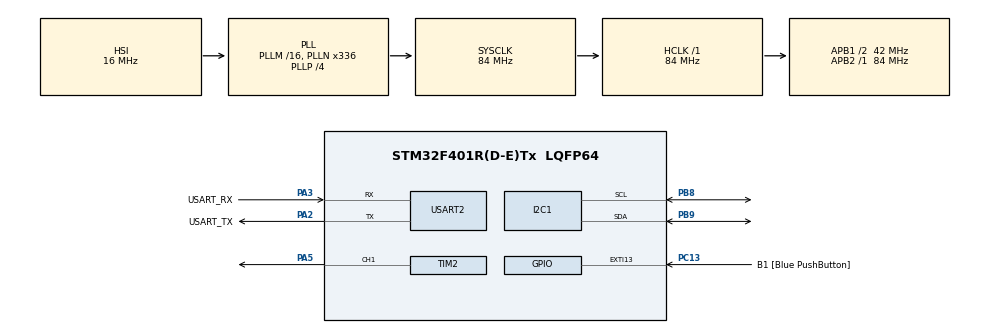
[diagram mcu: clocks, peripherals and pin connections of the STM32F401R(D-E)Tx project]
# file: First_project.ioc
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ADC1.Channel-0\#ChannelRegularConversion=ADC_CHANNEL_TEMPSENSOR
ADC1.ContinuousConvMode=DISABLE
ADC1.InjNumberOfConversion=0
ADC1.NbrOfConversion=1
ADC1.NbrOfConversionFlag=1
ADC1.Rank-0\#ChannelRegularConversion=1
ADC1.SamplingTime-0\#ChannelRegularConversion=ADC_SAMPLETIME_480CYCLES
ADC1.ScanConvMode=DISABLE
ADC1.master=1
Mcu.Family=STM32F4
Mcu.Name=STM32F401R(D-E)Tx
Mcu.Package=LQFP64
NVIC.EXTI15_10_IRQn=true\:0\:0\:false\:false\:true\:true\:true\:true
NVIC.PriorityGroup=NVIC_PRIORITYGROUP_4
PA13.GPIO_Label=TMS
PA13.Mode=Trace_Asynchronous_SW
PA13.Signal=SYS_JTMS-SWDIO
PA14.GPIO_Label=TCK
PA14.Mode=Trace_Asynchronous_SW
PA14.Signal=SYS_JTCK-SWCLK
PA2.GPIO_Label=USART_TX
PA2.GPIO_Mode=GPIO_MODE_AF_PP
PA2.GPIO_PuPd=GPIO_NOPULL
PA2.GPIO_Speed=GPIO_SPEED_FREQ_LOW
PA2.Mode=Asynchronous
PA2.Signal=USART2_TX
PA3.GPIO_Label=USART_RX
PA3.GPIO_Mode=GPIO_MODE_AF_PP
PA3.GPIO_PuPd=GPIO_NOPULL
PA3.GPIO_Speed=GPIO_SPEED_FREQ_LOW
PA3.Mode=Asynchronous
PA3.Signal=USART2_RX
PA5.Signal=S_TIM2_CH1_ETR
PB3.GPIO_Label=SWO
PB3.Mode=Trace_Asynchronous_SW
PB3.Signal=SYS_JTDO-SWO
PB8.Mode=I2C
PB8.Signal=I2C1_SCL
PB9.Mode=I2C
PB9.Signal=I2C1_SDA
PC13-ANTI_TAMP.GPIO_Label=B1 [Blue PushButton]
PC13-ANTI_TAMP.GPIO_ModeDefaultEXTI=GPIO_MODE_IT_FALLING
PC13-ANTI_TAMP.GPIO_PuPd=GPIO_NOPULL
PC13-ANTI_TAMP.Signal=GPXTI13
PC14-OSC32_IN.Mode=LSE-External-Oscillator
PC14-OSC32_IN.Signal=RCC_OSC32_IN
PC15-OSC32_OUT.Mode=LSE-External-Oscillator
PC15-OSC32_OUT.Signal=RCC_OSC32_OUT
PH0\ -\ OSC_IN.Mode=HSE-External-Clock-Source
PH0\ -\ OSC_IN.Signal=RCC_OSC_IN
PH1\ -\ OSC_OUT.Mode=HSE-External-Clock-Source
PH1\ -\ OSC_OUT.Signal=RCC_OSC_OUT
ProjectManager.HeapSize=0x200
ProjectManager.StackSize=0x400
ProjectManager.TargetToolchain=STM32CubeIDE
RCC.48MHZClocksFreq_Value=48000000
RCC.AHBFreq_Value=84000000
RCC.APB1CLKDivider=RCC_HCLK_DIV2
RCC.APB1Freq_Value=42000000
RCC.APB1TimFreq_Value=84000000
RCC.APB2Freq_Value=84000000
RCC.APB2TimFreq_Value=84000000
RCC.CortexFreq_Value=84000000
RCC.HCLKFreq_Value=84000000
RCC.HSE_VALUE=8000000
RCC.HSI_VALUE=16000000
RCC.PLLN=336
RCC.PLLP=RCC_PLLP_DIV4
RCC.PLLQ=7
RCC.SYSCLKFreq_VALUE=84000000
RCC.SYSCLKSource=RCC_SYSCLKSOURCE_PLLCLK
RCC.VCOOutputFreq_Value=336000000
SH.S_TIM2_CH1_ETR.0=TIM2_CH1,PWM Generation1 CH1
TIM2.Channel-PWM\ Generation1\ CH1=TIM_CHANNEL_1
TIM2.Period=999
TIM2.Prescaler=83
USART2.VirtualMode=VM_ASYNC
VP_ADC1_TempSens_Input.Mode=IN-TempSens
VP_TIM2_VS_ClockSourceINT.Mode=Internal
board=NUCLEO-F401RE

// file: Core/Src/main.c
/* USER CODE BEGIN Header */
/**
  ******************************************************************************
  * @file           : main.c
  * @brief          : Main program body
  ******************************************************************************
  * @attention
  *
  * Copyright (c) 2026 STMicroelectronics.
  * All rights reserved.
  *
  * This software is licensed under terms that can be found in the LICENSE file
  * in the root directory of this software component.
  * If no LICENSE file comes with this software, it is provided AS-IS.
  *
  ******************************************************************************
  */
/* USER CODE END Header */
#include "main.h"

/* USER CODE BEGIN Includes */
#include <stdio.h>
#include <stdlib.h>
/* USER CODE END Includes */

ADC_HandleTypeDef hadc1;

I2C_HandleTypeDef hi2c1;

TIM_HandleTypeDef htim2;

UART_HandleTypeDef huart2;

/* USER CODE BEGIN PV */
volatile uint8_t button_pressed = 0;
/* USER CODE END PV */

void SystemClock_Config(void);
static void MX_GPIO_Init(void);
static void MX_USART2_UART_Init(void);
static void MX_TIM2_Init(void);
static void MX_ADC1_Init(void);
static void MX_I2C1_Init(void);

/* USER CODE BEGIN 0 */

#define LCD_ADDR (0x27 << 1)   // à ajuster après le scan (0x3F possible)
#define LCD_BL   0x08
#define LCD_EN   0x04
#define LCD_RS   0x01

static void lcd_send(uint8_t data, uint8_t rs)
{
  uint8_t hi = (data & 0xF0) | LCD_BL | rs;
  uint8_t lo = ((data << 4) & 0xF0) | LCD_BL | rs;
  uint8_t buf[4] = { hi | LCD_EN, hi, lo | LCD_EN, lo };
  HAL_I2C_Master_Transmit(&hi2c1, LCD_ADDR, buf, 4, 100);
  HAL_Delay(2);
}

static void lcd_init(void)
{
  HAL_Delay(50);
  lcd_send(0x33, 0); HAL_Delay(5);
  lcd_send(0x32, 0); HAL_Delay(5);
  lcd_send(0x28, 0);   // 4 bits, 2 lignes
  lcd_send(0x0C, 0);   // écran allumé, pas de curseur
  lcd_send(0x06, 0);   // incrément du curseur
  lcd_send(0x01, 0);   // effacer
}

static void lcd_cursor(uint8_t row, uint8_t col)
{
  lcd_send(0x80 | ((row ? 0x40 : 0x00) + col), 0);
}

static void lcd_print(const char *s)
{
  while (*s) lcd_send((uint8_t)*s++, LCD_RS);
}

/* USER CODE END 0 */

int main(void)
{

  /* MCU Configuration--------------------------------------------------------*/

  /* Reset of all peripherals, Initializes the Flash interface and the Systick. */
  HAL_Init();

  /* Configure the system clock */
  SystemClock_Config();

  /* Initialize all configured peripherals */
  MX_GPIO_Init();
  MX_USART2_UART_Init();
  MX_TIM2_Init();
  MX_ADC1_Init();
  MX_I2C1_Init();
  /* USER CODE BEGIN 2 */

  /****scan I2C****/
  /*for (uint8_t a = 1; a < 128; a++)
  {
    if (HAL_I2C_IsDeviceReady(&hi2c1, a << 1, 1, 10) == HAL_OK)
    {
      char m[24];
      int n = snprintf(m, sizeof(m), "I2C: 0x%02X\r\n", a);
      HAL_UART_Transmit(&huart2, (uint8_t *)m, n, 100);
    }
  }
  */

  lcd_init();
  lcd_cursor(0, 0);
  lcd_print("Temperature :");
  /* garde ici ton HAL_TIM_PWM_Start */
  HAL_TIM_PWM_Start(&htim2, TIM_CHANNEL_1);

  /* USER CODE END 2 */

  /* Infinite loop */
  while (1)
  {

	  /* USER CODE BEGIN 3 */
	  static uint32_t t_pwm = 0, t_temp = 0;
	  static int duty = 0, step = 5;
	  uint32_t now = HAL_GetTick();

	  /* Tâche 1 : bouton (réaction immédiate) */
	  if (button_pressed)
	  {
	    static uint32_t count = 0;
	    char msg[40];
	    button_pressed = 0;
	    count++;
	    int n = snprintf(msg, sizeof(msg), "Appui #%lu\r\n", (unsigned long)count);
	    HAL_UART_Transmit(&huart2, (uint8_t *)msg, n, 100);
	  }

	  /* Tâche 2 : respiration de la LED, un pas toutes les 5 ms */
	  if (now - t_pwm >= 5)
	  {
	    t_pwm = now;
	    duty += step;
	    if (duty >= 999)    { duty = 999; step = -5; }
	    else if (duty <= 0) { duty = 0;   step = 5;  }
	    __HAL_TIM_SET_COMPARE(&htim2, TIM_CHANNEL_1, duty);
	  }

	  /* Tâche 3 : mesure de température, une fois par seconde */
	  if (now - t_temp >= 1000)
	  {
	    t_temp = now;

	    HAL_ADC_Start(&hadc1);
	    if (HAL_ADC_PollForConversion(&hadc1, 10) == HAL_OK)
	    {
	      uint32_t raw = HAL_ADC_GetValue(&hadc1);
	      float vsense = raw * 3.3f / 4095.0f;
	      float temp = (vsense - 0.76f) / 0.0025f + 25.0f;
	      int32_t t100 = (int32_t)(temp * 100.0f);

	      char msg[40];
	      int n = snprintf(msg, sizeof(msg), "Temp: %ld.%02ld C\r\n",
	                       (long)(t100 / 100), (long)(abs(t100) % 100));
	      HAL_UART_Transmit(&huart2, (uint8_t *)msg, n, 100);

	      char line[17];
	      snprintf(line, sizeof(line), "%ld.%02ld C      ",
	               (long)(t100 / 100), (long)(abs(t100) % 100));
	      lcd_cursor(1, 0);
	      lcd_print(line);
	    }
	    HAL_ADC_Stop(&hadc1);
	  }
  }
	  /* USER CODE END 3 */
}

void SystemClock_Config(void)
{
  RCC_OscInitTypeDef RCC_OscInitStruct = {0};
  RCC_ClkInitTypeDef RCC_ClkInitStruct = {0};

  /** Configure the main internal regulator output voltage
  */
  __HAL_RCC_PWR_CLK_ENABLE();
  __HAL_PWR_VOLTAGESCALING_CONFIG(PWR_REGULATOR_VOLTAGE_SCALE2);

  /** Initializes the RCC Oscillators according to the specified parameters
  * in the RCC_OscInitTypeDef structure.
  */
  RCC_OscInitStruct.OscillatorType = RCC_OSCILLATORTYPE_HSI;
  RCC_OscInitStruct.HSIState = RCC_HSI_ON;
  RCC_OscInitStruct.HSICalibrationValue = RCC_HSICALIBRATION_DEFAULT;
  RCC_OscInitStruct.PLL.PLLState = RCC_PLL_ON;
  RCC_OscInitStruct.PLL.PLLSource = RCC_PLLSOURCE_HSI;
  RCC_OscInitStruct.PLL.PLLM = 16;
  RCC_OscInitStruct.PLL.PLLN = 336;
  RCC_OscInitStruct.PLL.PLLP = RCC_PLLP_DIV4;
  RCC_OscInitStruct.PLL.PLLQ = 7;
  if (HAL_RCC_OscConfig(&RCC_OscInitStruct) != HAL_OK)
  {
    Error_Handler();
  }

  /** Initializes the CPU, AHB and APB buses clocks
  */
  RCC_ClkInitStruct.ClockType = RCC_CLOCKTYPE_HCLK|RCC_CLOCKTYPE_SYSCLK
                              |RCC_CLOCKTYPE_PCLK1|RCC_CLOCKTYPE_PCLK2;
  RCC_ClkInitStruct.SYSCLKSource = RCC_SYSCLKSOURCE_PLLCLK;
  RCC_ClkInitStruct.AHBCLKDivider = RCC_SYSCLK_DIV1;
  RCC_ClkInitStruct.APB1CLKDivider = RCC_HCLK_DIV2;
  RCC_ClkInitStruct.APB2CLKDivider = RCC_HCLK_DIV1;

  if (HAL_RCC_ClockConfig(&RCC_ClkInitStruct, FLASH_LATENCY_2) != HAL_OK)
  {
    Error_Handler();
  }
}

static void MX_ADC1_Init(void)
{

  ADC_ChannelConfTypeDef sConfig = {0};

  /** Configure the global features of the ADC (Clock, Resolution, Data Alignment and number of conversion)
  */
  hadc1.Instance = ADC1;
  hadc1.Init.ClockPrescaler = ADC_CLOCK_SYNC_PCLK_DIV4;
  hadc1.Init.Resolution = ADC_RESOLUTION_12B;
  hadc1.Init.ScanConvMode = DISABLE;
  hadc1.Init.ContinuousConvMode = DISABLE;
  hadc1.Init.DiscontinuousConvMode = DISABLE;
  hadc1.Init.ExternalTrigConvEdge = ADC_EXTERNALTRIGCONVEDGE_NONE;
  hadc1.Init.ExternalTrigConv = ADC_SOFTWARE_START;
  hadc1.Init.DataAlign = ADC_DATAALIGN_RIGHT;
  hadc1.Init.NbrOfConversion = 1;
  hadc1.Init.DMAContinuousRequests = DISABLE;
  hadc1.Init.EOCSelection = ADC_EOC_SINGLE_CONV;
  if (HAL_ADC_Init(&hadc1) != HAL_OK)
  {
    Error_Handler();
  }

  /** Configure for the selected ADC regular channel its corresponding rank in the sequencer and its sample time.
  */
  sConfig.Channel = ADC_CHANNEL_TEMPSENSOR;
  sConfig.Rank = 1;
  sConfig.SamplingTime = ADC_SAMPLETIME_480CYCLES;
  if (HAL_ADC_ConfigChannel(&hadc1, &sConfig) != HAL_OK)
  {
    Error_Handler();
  }

}

static void MX_I2C1_Init(void)
{

  hi2c1.Instance = I2C1;
  hi2c1.Init.ClockSpeed = 100000;
  hi2c1.Init.DutyCycle = I2C_DUTYCYCLE_2;
  hi2c1.Init.OwnAddress1 = 0;
  hi2c1.Init.AddressingMode = I2C_ADDRESSINGMODE_7BIT;
  hi2c1.Init.DualAddressMode = I2C_DUALADDRESS_DISABLE;
  hi2c1.Init.OwnAddress2 = 0;
  hi2c1.Init.GeneralCallMode = I2C_GENERALCALL_DISABLE;
  hi2c1.Init.NoStretchMode = I2C_NOSTRETCH_DISABLE;
  if (HAL_I2C_Init(&hi2c1) != HAL_OK)
  {
    Error_Handler();
  }

}

static void MX_TIM2_Init(void)
{

  TIM_ClockConfigTypeDef sClockSourceConfig = {0};
  TIM_MasterConfigTypeDef sMasterConfig = {0};
  TIM_OC_InitTypeDef sConfigOC = {0};

  htim2.Instance = TIM2;
  htim2.Init.Prescaler = 83;
  htim2.Init.CounterMode = TIM_COUNTERMODE_UP;
  htim2.Init.Period = 999;
  htim2.Init.ClockDivision = TIM_CLOCKDIVISION_DIV1;
  htim2.Init.AutoReloadPreload = TIM_AUTORELOAD_PRELOAD_DISABLE;
  if (HAL_TIM_Base_Init(&htim2) != HAL_OK)
  {
    Error_Handler();
  }
  sClockSourceConfig.ClockSource = TIM_CLOCKSOURCE_INTERNAL;
  if (HAL_TIM_ConfigClockSource(&htim2, &sClockSourceConfig) != HAL_OK)
  {
    Error_Handler();
  }
  if (HAL_TIM_PWM_Init(&htim2) != HAL_OK)
  {
    Error_Handler();
  }
  sMasterConfig.MasterOutputTrigger = TIM_TRGO_RESET;
  sMasterConfig.MasterSlaveMode = TIM_MASTERSLAVEMODE_DISABLE;
  if (HAL_TIMEx_MasterConfigSynchronization(&htim2, &sMasterConfig) != HAL_OK)
  {
    Error_Handler();
  }
  sConfigOC.OCMode = TIM_OCMODE_PWM1;
  sConfigOC.Pulse = 0;
  sConfigOC.OCPolarity = TIM_OCPOLARITY_HIGH;
  sConfigOC.OCFastMode = TIM_OCFAST_DISABLE;
  if (HAL_TIM_PWM_ConfigChannel(&htim2, &sConfigOC, TIM_CHANNEL_1) != HAL_OK)
  {
    Error_Handler();
  }
  HAL_TIM_MspPostInit(&htim2);

}

static void MX_USART2_UART_Init(void)
{

  huart2.Instance = USART2;
  huart2.Init.BaudRate = 115200;
  huart2.Init.WordLength = UART_WORDLENGTH_8B;
  huart2.Init.StopBits = UART_STOPBITS_1;
  huart2.Init.Parity = UART_PARITY_NONE;
  huart2.Init.Mode = UART_MODE_TX_RX;
  huart2.Init.HwFlowCtl = UART_HWCONTROL_NONE;
  huart2.Init.OverSampling = UART_OVERSAMPLING_16;
  if (HAL_UART_Init(&huart2) != HAL_OK)
  {
    Error_Handler();
  }

}

static void MX_GPIO_Init(void)
{
  GPIO_InitTypeDef GPIO_InitStruct = {0};

  /* GPIO Ports Clock Enable */
  __HAL_RCC_GPIOC_CLK_ENABLE();
  __HAL_RCC_GPIOH_CLK_ENABLE();
  __HAL_RCC_GPIOA_CLK_ENABLE();
  __HAL_RCC_GPIOB_CLK_ENABLE();

  /*Configure GPIO pin : B1_Pin */
  GPIO_InitStruct.Pin = B1_Pin;
  GPIO_InitStruct.Mode = GPIO_MODE_IT_FALLING;
  GPIO_InitStruct.Pull = GPIO_NOPULL;
  HAL_GPIO_Init(B1_GPIO_Port, &GPIO_InitStruct);

  /* EXTI interrupt init*/
  HAL_NVIC_SetPriority(EXTI15_10_IRQn, 0, 0);
  HAL_NVIC_EnableIRQ(EXTI15_10_IRQn);

}

/* USER CODE BEGIN 4 */

void HAL_GPIO_EXTI_Callback(uint16_t GPIO_Pin)
{
  static uint32_t last = 0;
  if (GPIO_Pin == B1_Pin && (HAL_GetTick() - last) > 50)  // anti-rebond 50 ms
  {
    last = HAL_GetTick();
    //HAL_GPIO_TogglePin(LD2_GPIO_Port, LD2_Pin);
    button_pressed = 1;
  }
}
/* USER CODE END 4 */

void Error_Handler(void)
{
  __disable_irq();
  while (1)
  {
  }
}
